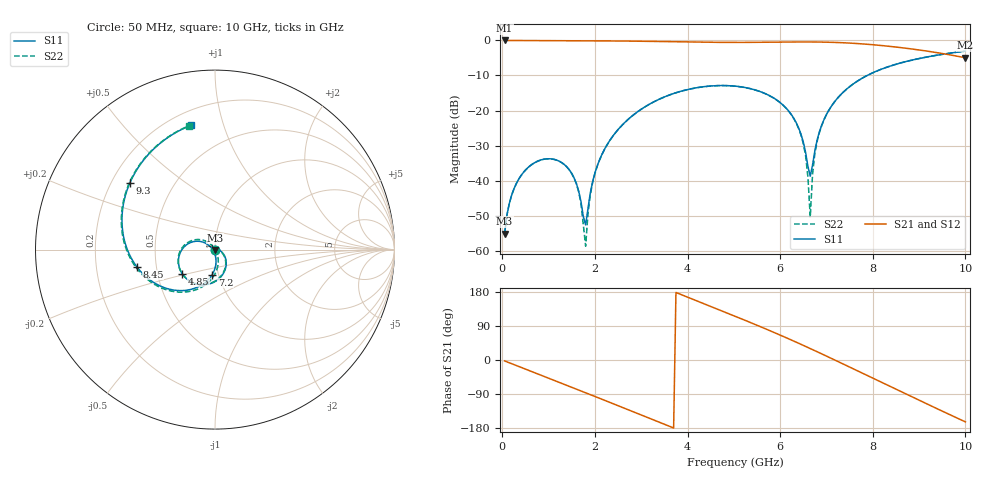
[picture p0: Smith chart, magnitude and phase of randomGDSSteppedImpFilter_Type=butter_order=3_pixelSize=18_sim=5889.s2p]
! freq	dB(S11)	phase(S11)	dB(S12)	phase(S12)
!  dB(S21)	phase(S21)	dB(S22)	phase(S22)
!S-par simulation data
#  GHz  S  DB  R 50
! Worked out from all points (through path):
!   200 points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, 50 MHz to 10 GHz, reference 50 ohm
!   highest |S21| = 0.00 dB at 50 MHz (marker M1); lowest = -5.0 dB at 10 GHz (marker M2)
!   group delay of S21, straight-line fit = 145 ps
!   lowest |S11| = -55.1 dB at 50 MHz (marker M3), VSWR 1.00, Z = 50 - j0.174 ohm
!   |S11| at or under -10 dB: start of sweep to 7.879 GHz
!   |S22| runs from -58.7 to -3.0 dB; largest |S21 - S12| = 0
!   S11 on the Smith chart (normalised r, x): 50 MHz: 1.00, -0.00; 4.85 GHz: 0.67, -0.19; 7.2 GHz: 0.93, -0.26; 8.45 GHz: 0.39, -0.09; 9.3 GHz: 0.28, +0.32; 10 GHz: 0.28, +0.78
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0.05  -55.11 -82.3  -0.00 -2.4  -0.00 -2.4  -55.10 -82.1
0.35  -39.70 -105.8  -0.03 -16.8  -0.03 -16.8  -39.69 -105.5
0.95  -33.80 -138.0  -0.06 -45.6  -0.06 -45.6  -33.80 -136.9
1.5  -37.96 -170.1  -0.08 -72.0  -0.08 -72.0  -38.01 -165.8
1.65  -43.00 174.2  -0.09 -79.3  -0.09 -79.3  -43.24 -176.5
1.75  -50.30 138.3  -0.09 -84.1  -0.09 -84.1  -52.63 160.9
1.8  -52.65 80.9  -0.10 -86.5  -0.10 -86.5  -58.71 66.7
1.95  -40.33 10.4  -0.11 -93.8  -0.11 -93.8  -40.61 1.0
2.25  -30.05 -13.6  -0.13 -108.3  -0.13 -108.3  -30.09 -17.3
3.4  -16.70 -73.2  -0.30 -164.7  -0.30 -164.7  -16.71 -74.9
4.85  -12.89 -143.9  -0.56 124.3  -0.56 124.3  -12.90 -145.8
5.05  -13.07 -153.6  -0.56 114.4  -0.56 114.4  -13.08 -155.7
6.3  -22.34 147.7  -0.43 49.6  -0.43 49.6  -22.44 139.0
6.55  -31.98 152.1  -0.42 35.8  -0.42 35.8  -32.95 122.8
6.65  -38.75 -148.0  -0.43 30.2  -0.43 30.2  -50.45 37.5
6.7  -35.53 -105.9  -0.43 27.4  -0.43 27.4  -38.10 -56.4
6.85  -25.97 -84.4  -0.45 18.9  -0.45 18.9  -26.18 -69.5
7.2  -17.08 -96.4  -0.57 -1.2  -0.57 -1.2  -17.10 -90.9
8.35  -7.42 -161.9  -1.66 -68.5  -1.66 -68.5  -7.43 -160.0
8.45  -7.00 -167.8  -1.81 -74.3  -1.81 -74.3  -7.01 -166.0
9.3  -4.40 141.9  -3.30 -123.5  -3.30 -123.5  -4.41 143.2
10  -3.03 100.9  -4.96 -163.3  -4.96 -163.3  -3.04 101.9
